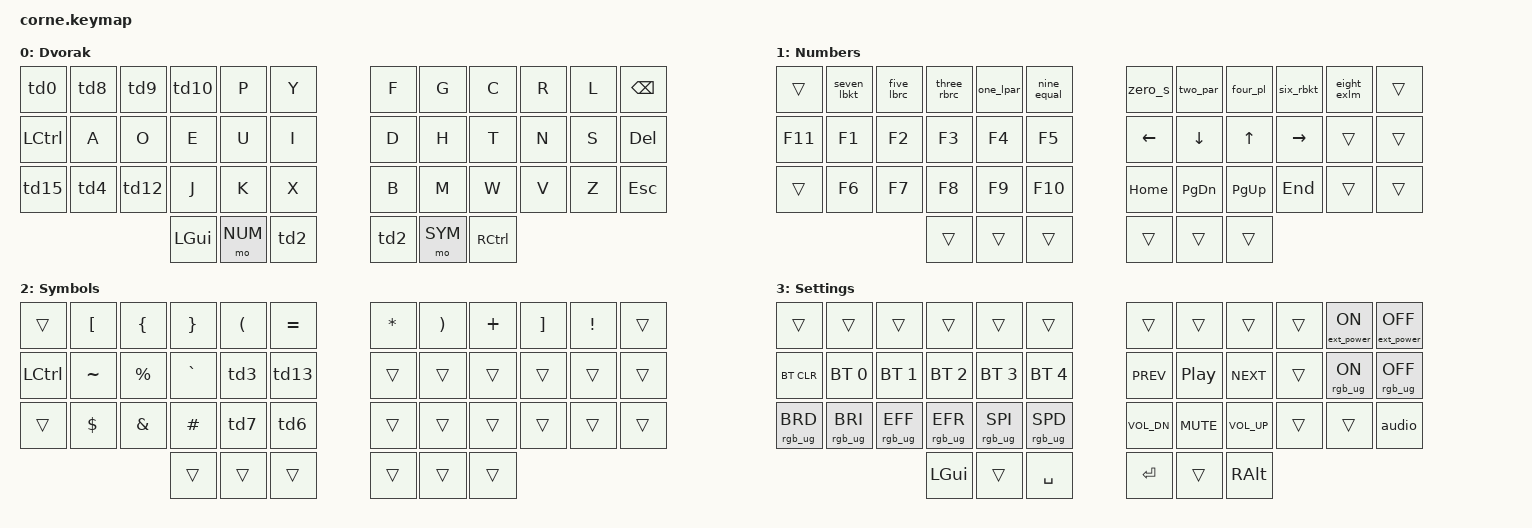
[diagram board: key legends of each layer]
/*
 * Copyright (c) 2020 The ZMK Contributors
 *
 * SPDX-License-Identifier: MIT
 */

#include <behaviors.dtsi>
#include <dt-bindings/zmk/keys.h>
#include <dt-bindings/zmk/bt.h>
#include <dt-bindings/zmk/ext_power.h>
#include <dt-bindings/zmk/rgb.h>

#define DVRK 0
#define NUM 1
#define SYM 2
#define SET 3

// TAP_DANCE settings
#define TAP_SPEED 200

// MACROS to make the the code easier to read
// include name or reference in keymap
// Format: 
//      name        reference  key1 key2 
#define TD_TAB      &td0    // TAB ESC
#define TD_CAPLOCK  &td1    // LSHIFT CAPSLOCK 
#define TD_SPC      &td2    // SPACE ENTER 
#define TD_SLSH     &td3    // SLASH QMARK
#define TD_QUOTE    &td4    // QUOTE DOUBLE_QUOTES
#define TD_EQL      &td5    // EQUAL PLUS
#define TD_BSLS     &td6    // BACKSLASH PIPE 
#define TD_MINUS    &td7    // MINUS UNDERSCORE
#define TD_SCLN     &td8    // SEMICOLON COLON 
#define TD_COMM     &td9    // COMMA LESS_THAN 
#define TD_DOT      &td10   // PERIOD GREATER_THAN 
#define TD_BACKF    &td11   // GRAVE TILDE
#define TD_ARR      &td12   // Q AT (@)
#define TD_ATCAT    &td13   // AT CARET
#define TD_TAW      &td14   // TAB LWIN
#define TD_SCLOCK   &td15   // (S)LSHIFT CAPSLOCK (Sticky shift)
#define RGBTOG      &rgb_ug RGB_TOG
#define RGBP        &rgb_ug RGB_COLOR_HSB(274,100,10)
#define RGBEFF      &rgb_ug RGB_EFF
#define RGBEFR      &rgb_ug RGB_EFR
#define RGBSPI      &rgb_ug RGB_SPI
#define RGBSPD      &rgb_ug RGB_SPD
#define RGBBRD      &rgb_ug RGB_BRD
#define RGBBRI      &rgb_ug RGB_BRI
#define AUDIO       &audio
// include &name in keymap to use
// FORMAT                               
//   natural --> (on shift)
//   number --> symbols | number code --> symbol code 
// one_lpar    1 --> (  | N1 --> LPAR
// two_par     2 --> )  | N2 --> RPAR
// three_rbrc  3 --> }  | N3 --> RBRC
// four_pl     4 --> ]  | N4 --> PLUS
// five_lbrc   5 --> {  | N5 --> RSFT
// six_rbkt    6 --> ]  | N6 --> RBKT
// seven_lbkt  7 --> [  | N7 --> LBKT
// eight_exlm  8 --> !  | N8 --> EXCL
// nine_equal  9 --> =  | N9 --> EQUAL
// zero_s      0 --> *  | N0 --> STAR

/*
// Sticky key config if desired
&sk {
    //release-after-ms = <2000>;
    quick-release;
};

*/
&led_strip {
    chain-length = <27>;
};
/ {


    behaviors{  
        td0: tap_dance_0 {
            compatible = "zmk,behavior-tap-dance";
            #binding-cells = <0>; 
            tapping-term-ms = <TAP_SPEED>; 
            bindings = <&kp TAB>, <&kp ESC>;

            }; 
        td1: tap_dance_1 {
            compatible = "zmk,behavior-tap-dance";
            #binding-cells = <0>; 
            tapping-term-ms = <TAP_SPEED>; 
            bindings = <&kp LSHIFT>, <&kp CAPSLOCK>;
            }; 
        td2: tap_dance_2 {
            compatible = "zmk,behavior-tap-dance";
            #binding-cells = <0>; 
            tapping-term-ms = <TAP_SPEED>; 
            bindings = <&kp SPACE>, <&kp ENTER>;
            }; 
        td3: tap_dance_3 {
            compatible = "zmk,behavior-tap-dance";
            #binding-cells = <0>; 
            tapping-term-ms = <TAP_SPEED>; 
            bindings = <&kp SLASH>, <&kp QMARK>;
            }; 
        td4: tap_dance_4 {
            compatible = "zmk,behavior-tap-dance";
            #binding-cells = <0>; 
            tapping-term-ms = <TAP_SPEED>; 
            bindings = <&kp SINGLE_QUOTE>, <&kp DOUBLE_QUOTES>;
            }; 
        td5: tap_dance_5 {
            compatible = "zmk,behavior-tap-dance";
            #binding-cells = <0>; 
            tapping-term-ms = <TAP_SPEED>; 
            bindings = <&kp EQUAL>, <&kp PLUS>;
            }; 
        td6: tap_dance_6 {
            compatible = "zmk,behavior-tap-dance";
            #binding-cells = <0>; 
            tapping-term-ms = <TAP_SPEED>; 
            bindings = <&kp BACKSLASH>, <&kp PIPE>;
            }; 
        td7: tap_dance_7 {
            compatible = "zmk,behavior-tap-dance";
            #binding-cells = <0>; 
            tapping-term-ms = <TAP_SPEED>; 
            bindings = <&kp MINUS>, <&kp UNDERSCORE>;
            }; 
        td8: tap_dance_8 {
            compatible = "zmk,behavior-tap-dance";
            #binding-cells = <0>; 
            tapping-term-ms = <TAP_SPEED>; 
            bindings = <&kp SEMICOLON>, <&kp COLON>;
            }; 
        td9: tap_dance_9 {
            compatible = "zmk,behavior-tap-dance";
            #binding-cells = <0>; 
            tapping-term-ms = <TAP_SPEED>; 
            bindings = <&kp COMMA>, <&kp LESS_THAN>;
            }; 
        td10: tap_dance_10 {
            compatible = "zmk,behavior-tap-dance";
            #binding-cells = <0>; 
            tapping-term-ms = <TAP_SPEED>; 
            bindings = <&kp PERIOD>, <&kp GREATER_THAN>;
            }; 
        td11: tap_dance_11 {
            compatible = "zmk,behavior-tap-dance";
            #binding-cells = <0>; 
            tapping-term-ms = <TAP_SPEED>; 
            bindings = <&kp GRAVE>, <&kp TILDE>;
            };            
        td12: tap_dance_12 {
            compatible = "zmk,behavior-tap-dance";
            #binding-cells = <0>; 
            tapping-term-ms = <TAP_SPEED>; 
            bindings = <&kp Q>, <&kp AT>;
            };
        td13: tap_dance_13 {
            compatible = "zmk,behavior-tap-dance";
            #binding-cells = <0>; 
            tapping-term-ms = <TAP_SPEED>; 
            bindings = <&kp AT>, <&kp CARET>;
            };
        td14: tap_dance_14 {
            compatible = "zmk,behavior-tap-dance";
            #binding-cells = <0>; 
            tapping-term-ms = <TAP_SPEED>; 
            bindings = <&kp TAB>, <&kp LWIN>;
            };
        td15: tap_dance_15 {
            compatible = "zmk,behavior-tap-dance";
            #binding-cells = <0>; 
            tapping-term-ms = <TAP_SPEED>; 
            bindings = <&sk LSHIFT>, <&kp CAPSLOCK>;
            }; 

        // create the shifts of dvorak 
        seven_lbkt: seven_lbkt{ 
            compatible = "zmk,behavior-mod-morph";
            #binding-cells = <0>;
            bindings = <&kp N7>, <&kp LBKT>;  
            mods=<(MOD_LSFT|MOD_RSFT)>;
            }; 
        five_lbrc: five_lbrc {
            compatible = "zmk,behavior-mod-morph";
            #binding-cells = <0>; 
            bindings = <&kp N5>,<&kp LBRC>;
            mods=<(MOD_LSFT|MOD_RSFT)>;
        };
        three_rbrc: three_rbrc {
            compatible = "zmk,behavior-mod-morph";
            #binding-cells = <0>; 
            bindings = <&kp N3>,<&kp RBRC>;
            mods=<(MOD_LSFT|MOD_RSFT)>;
        };
        one_lpar: one_lpar {
            compatible = "zmk,behavior-mod-morph";
            #binding-cells = <0>; 
            bindings = <&kp N1>,<&kp LPAR>;
            mods=<(MOD_LSFT|MOD_RSFT)>;
        };
        nine_equal: nine_equal {
            compatible = "zmk,behavior-mod-morph";
            #binding-cells = <0>; 
            bindings = <&kp N9>,    <&kp EQUAL>;
            mods=<(MOD_LSFT|MOD_RSFT)>;
        };
        zero_s: zero_star { 
            compatible = "zmk,behavior-mod-morph";
            #binding-cells = <0>;
            bindings = <&kp N0>, <&kp STAR>;  
            mods=<(MOD_LSFT|MOD_RSFT)>;
            }; 
        two_par: two_paren {
            compatible = "zmk,behavior-mod-morph";
            #binding-cells = <0>; 
            bindings = <&kp N2>,<&kp RPAR>;
            mods=<(MOD_LSFT|MOD_RSFT)>;
        };
        four_pl: four_plus {
            compatible = "zmk,behavior-mod-morph";
            #binding-cells = <0>; 
            bindings = <&kp N4>,<&kp PLUS>;
            mods=<(MOD_LSFT|MOD_RSFT)>;
        };
        six_rbkt: six_rbkt {
            compatible = "zmk,behavior-mod-morph";
            #binding-cells = <0>; 
            bindings = <&kp N6>,<&kp RBKT>;
            mods=<(MOD_LSFT|MOD_RSFT)>;
        };
        eight_exlm: eight_exlm {
            compatible = "zmk,behavior-mod-morph";
            #binding-cells = <0>; 
            bindings = <&kp N8>,<&kp EXCL>;
            mods=<(MOD_LSFT|MOD_RSFT)>;
        };
        macros {
            audio: audio {
                compatible = "zmk,behavior-macro";
                #binding-cells = <0>;
                bindings
                    = <&macro_press &kp LALT>
                    , <&macro_press &kp LCTRL>
                    , <&macro_press &kp LSHIFT>
                    , <&macro_tap  &kp F11>
                    , <&macro_release &kp LSHIFT>
                    , <&macro_release &kp LALT>
                    , <&macro_release &kp LCTRL>                
                    ;
            };      
        };
    };
    // LAYERS
    conditional_layers {
        compatible = "zmk,conditional-layers";
        tri_layer {
            if-layers = <NUM SYM>;
            then-layer = <SET>;
        };
    };
    keymap {
        compatible = "zmk,keymap";
        default_layer {
            display-name="Dvorak";
                // -----------------------------------------------------------------------------------------
                // |TAB:ESC   | ; : | , < | . > |  P  |  Y  |         | F   |  G   |  C  |  R  |  L  | BKSP |
                // | CTRL     |  A  |  O  |  E  |  U  |  I  |         |  D  |  H   |  T  |  N  |  S  |  DEL |
                // | LSFT:CAP |' "  | q @ | J   | K   |  X  |         |  B  |  M   |  W  |  V  |  Z  | ESC  |
                //                        | LGUI | LWR | SPC |         | ENT | RSE  | RCTRL |
            bindings = <
                TD_TAB     TD_SCLN  TD_COMM TD_DOT &kp P &kp Y                   &kp F &kp G  &kp C     &kp R   &kp L    &kp BSPC
                &kp LCTRL  &kp A    &kp O   &kp E  &kp U &kp I                   &kp D &kp H  &kp T     &kp N   &kp S    &kp DEL
                TD_SCLOCK TD_QUOTE TD_ARR  &kp J  &kp K &kp X                   &kp B &kp M  &kp W     &kp V   &kp Z     &kp ESC
                                            &kp LGUI &mo NUM TD_SPC                   TD_SPC &mo SYM &kp RCTRL
            >;
        };
        
        lower_layer {
            display-name="Numbers";
                // -----------------------------------------------------------------------------------------
                // |  ESC   |  7   |  5  |  3  |  1  |  9  |            |  0  |  2  |  4  |  6  |  8  |      |
                // | F11    |  F1  |  F2 |  F3 |  F4 |  F5 |            | LFT | DWN |  UP | RGT |     |      |
                // | SHFT   |  F6  |  F7 |  F8 |  F9 |  F10|            |HOME | PGDN| PGUP| END |     |      |
                //                       |     |     |     |            |     |     |     |
            bindings = <
                &trans     &seven_lbkt   &five_lbrc  &three_rbrc &one_lpar   &nine_equal          &zero_s    &two_par    &four_pl    &six_rbkt   &eight_exlm &trans
                &kp F11    &kp F1        &kp F2      &kp F3      &kp F4      &kp F5               &kp LEFT   &kp DOWN    &kp UP      &kp RIGHT   &trans      &trans
                &trans     &kp F6        &kp F7      &kp F8      &kp F9      &kp F10              &kp HOME   &kp PG_DN   &kp PG_UP   &kp END     &trans      &trans
                                                        &trans      &trans      &trans               &trans     &trans      &trans
            >;
        };

        raise_layer {
            display-name="Symbols";
                // -----------------------------------------------------------------------------------------
                // |  ESC |  [  |  {  |  }  |  (  |  =  |       |  *  |  )  |  +  |  ]  |  !  | DEL  |
                // | CTRL |  ~  |  %  |  `  | / ? | @ ^ |       |     |     |     |     |     |      |
                // | SHFT |  $  |  &  |  #  | - _ | \ | |       |     |     |     |     |     |      |
                //                    | LGUI |     | SPC |       | ENT |     | ALT |
            bindings = <
                &trans     &kp LBKT    &kp LBRC     &kp RBRC     &kp LPAR    &kp EQUAL       &kp STAR    &kp RPAR  &kp PLUS  &kp RBKT  &kp EXCL   &trans    
                &kp LCTRL  &kp TILDE   &kp PRCNT    &kp GRAVE    TD_SLSH     TD_ATCAT        &trans      &trans    &trans    &trans    &trans     &trans
                &trans     &kp DLLR    &kp AMPS     &kp HASH     TD_MINUS    TD_BSLS         &trans      &trans    &trans    &trans    &trans     &trans
                                                    &trans       &trans      &trans          &trans      &trans    &trans
            >;
        };


        // bt_media_layer: SET functions and media controls
        bt_media_layer {
            display-name="Settings";
                // -----------------------------------------------------------------------------------------
                // |  TOG POW |     |     |     |     |     |   |         |     |         |     |   |      |
                // | BTCLR| BT1 | BT2 | BT3 | BT4 | BT5 |   | LFT     | PRV |  Play/P | NXT |   |      |
                // | TOG RGB |  PP |  EF |  ER |  SPi |  SPd |   | VOL- |MUTE| VOL+|    |     |   |      |
                //                    | LGUI |     | SPC |   | ENT     |     | ALT |
            bindings = <
                &trans          &trans          &trans          &trans          &trans       &trans                 &trans          &trans          &trans          &trans      &ext_power EP_ON    &ext_power EP_OFF 
                &bt BT_CLR      &bt BT_SEL 0    &bt BT_SEL 1    &bt BT_SEL 2    &bt BT_SEL 3 &bt BT_SEL 4           &kp C_PREV      &kp C_PP        &kp C_NEXT      &trans      &rgb_ug RGB_ON      &rgb_ug RGB_OFF
                RGBBRD          RGBBRI            RGBEFF          RGBEFR          RGBSPI       RGBSPD                 &kp C_VOL_DN    &kp C_MUTE      &kp C_VOL_UP    &trans      &trans              AUDIO
                                                                &kp LGUI        &trans       &kp SPACE              &kp RET         &trans          &kp RALT
            >;
        }; 
        
    };
};
